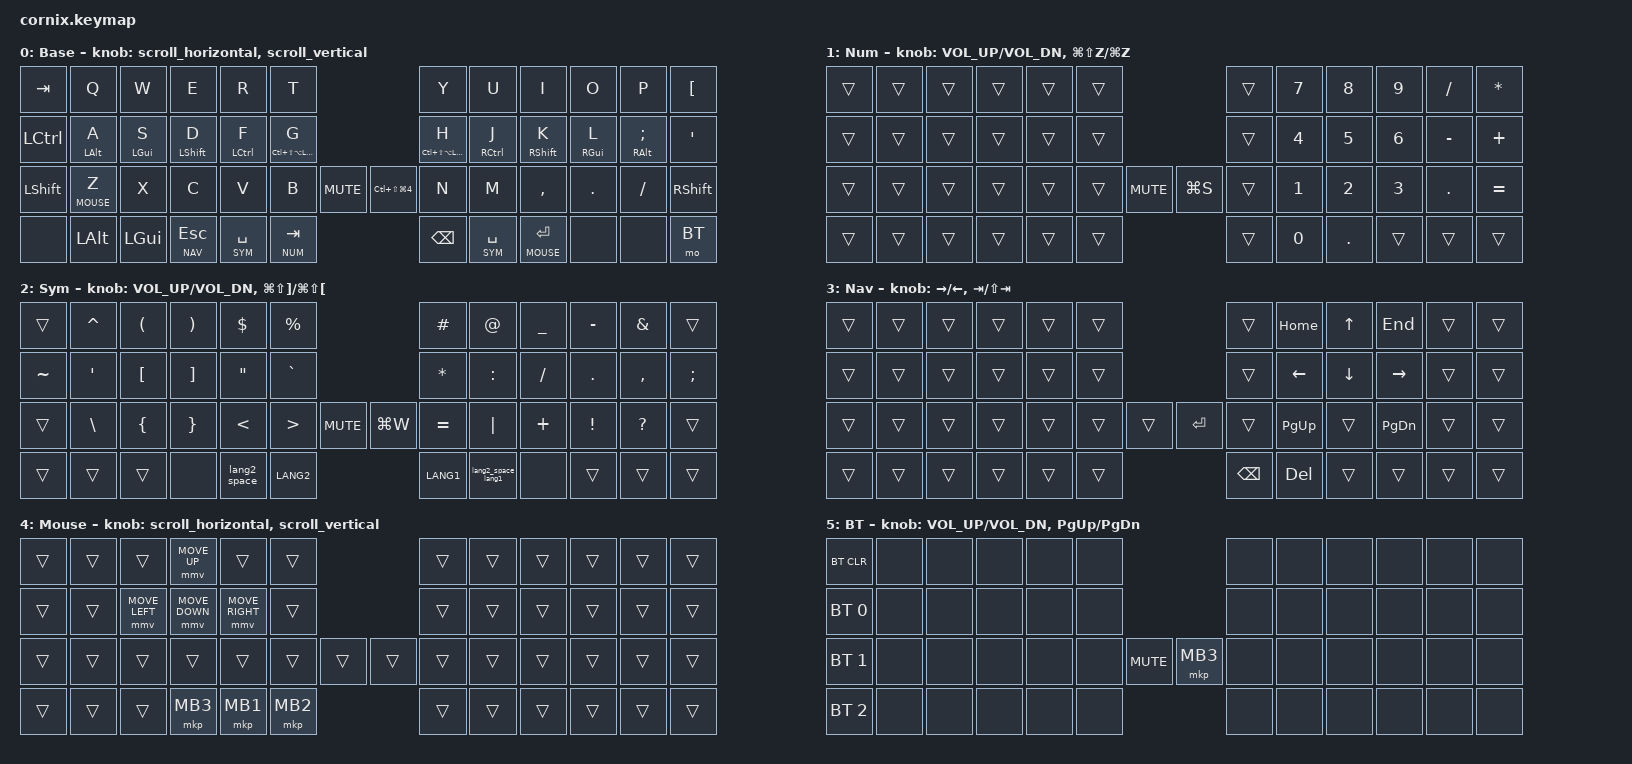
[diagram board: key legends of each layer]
/*
 * Copyright (c) 2020 The ZMK Contributors
 *
 * SPDX-License-Identifier: MIT
 */

#include "zmk-helpers/helper.h"
#include "includes/cornix54.h"
#include <behaviors.dtsi>
#include <dt-bindings/zmk/bt.h>
#include <dt-bindings/zmk/keys.h>

#define ZMK_POINTING_DEFAULT_MOVE_VAL 900
#define ZMK_POINTING_DEFAULT_SCRL_VAL 80
#include <dt-bindings/zmk/pointing.h>

#define BASE  0
#define NUM   1
#define SYM   2
#define NAV   3
#define MOUSE 4
#define BT    5

#define HM_TAPPING_TERM 250
#define HM_TAPPING_TERM_FAST 200
#define HM_QUICK_TAP 200
#define HM_PRIOR_IDLE 70
#define Z_MOUSE_TAPPING_TERM 3600000

#define LHYPR LC(LS(LA(LGUI)))

#define KEYS_L LT0 LT1 LT2 LT3 LT4 LT5 LM0 LM1 LM2 LM3 LM4 LM5 LB0 LB1 LB2 LB3 LB4 LB5
#define KEYS_R RT0 RT1 RT2 RT3 RT4 RT5 RM0 RM1 RM2 RM3 RM4 RM5 RB0 RB1 RB2 RB3 RB4 RB5
#define KEYS_LT LH2 LH1 LH0
#define KEYS_RT RH0 RH1 RH2

/ {
    macros {
        lang2_space: lang2_space {
            compatible = "zmk,behavior-macro";
            #binding-cells = <0>;
            wait-ms = <40>;
            tap-ms = <40>;
            bindings = <&kp LANG2>, <&kp SPACE>;
        };

        lang2_space_lang1: lang2_space_lang1 {
            compatible = "zmk,behavior-macro";
            #binding-cells = <0>;
            wait-ms = <40>;
            tap-ms = <40>;
            bindings = <&kp LANG2>, <&kp SPACE>, <&kp LANG1>;
        };

    };

    behaviors {
        hm_l: homerow_mods_left {
            compatible = "zmk,behavior-hold-tap";
            #binding-cells = <2>;
            bindings = <&kp>, <&kp>;

            flavor = "balanced";
            tapping-term-ms = <HM_TAPPING_TERM>;
            quick-tap-ms = <HM_QUICK_TAP>;
            require-prior-idle-ms = <HM_PRIOR_IDLE>;
            hold-trigger-key-positions = <KEYS_R KEYS_RT>;
            hold-trigger-on-release;
        };

        hm_r: homerow_mods_right {
            compatible = "zmk,behavior-hold-tap";
            #binding-cells = <2>;
            bindings = <&kp>, <&kp>;

            flavor = "balanced";
            tapping-term-ms = <HM_TAPPING_TERM>;
            quick-tap-ms = <HM_QUICK_TAP>;
            require-prior-idle-ms = <HM_PRIOR_IDLE>;
            hold-trigger-key-positions = <KEYS_L KEYS_LT>;
            hold-trigger-on-release;
        };

        hm_shift_l: homerow_shift_left {
            compatible = "zmk,behavior-hold-tap";
            #binding-cells = <2>;
            bindings = <&kp>, <&kp>;

            flavor = "balanced";
            tapping-term-ms = <HM_TAPPING_TERM_FAST>;
            quick-tap-ms = <HM_QUICK_TAP>;
            require-prior-idle-ms = <HM_PRIOR_IDLE>;
            hold-trigger-key-positions = <KEYS_R KEYS_RT>;
            hold-trigger-on-release;
        };

        hm_shift_r: homerow_shift_right {
            compatible = "zmk,behavior-hold-tap";
            #binding-cells = <2>;
            bindings = <&kp>, <&kp>;

            flavor = "balanced";
            tapping-term-ms = <HM_TAPPING_TERM_FAST>;
            quick-tap-ms = <HM_QUICK_TAP>;
            require-prior-idle-ms = <HM_PRIOR_IDLE>;
            hold-trigger-key-positions = <KEYS_L KEYS_LT>;
            hold-trigger-on-release;
        };

        lt_thumb_l: thumb_layer_tap_left {
            compatible = "zmk,behavior-hold-tap";
            #binding-cells = <2>;
            bindings = <&mo>, <&kp>;

            flavor = "hold-preferred";
            tapping-term-ms = <HM_TAPPING_TERM>;
            quick-tap-ms = <HM_QUICK_TAP>;
            hold-while-undecided;
            hold-trigger-key-positions = <KEYS_R KEYS_RT>;
            hold-trigger-on-release;
        };

        lt_thumb_r: thumb_layer_tap_right {
            compatible = "zmk,behavior-hold-tap";
            #binding-cells = <2>;
            bindings = <&mo>, <&kp>;

            flavor = "hold-preferred";
            tapping-term-ms = <HM_TAPPING_TERM>;
            quick-tap-ms = <HM_QUICK_TAP>;
            hold-while-undecided;
            hold-trigger-key-positions = <KEYS_L KEYS_LT>;
            hold-trigger-on-release;
        };

        z_mouse_l: z_mouse_layer_left {
            compatible = "zmk,behavior-hold-tap";
            #binding-cells = <2>;
            bindings = <&mo>, <&kp>;

            flavor = "tap-unless-interrupted";
            tapping-term-ms = <Z_MOUSE_TAPPING_TERM>;
            quick-tap-ms = <HM_QUICK_TAP>;
            require-prior-idle-ms = <HM_PRIOR_IDLE>;
            hold-trigger-key-positions = <LH1 LH0>;
        };

        scroll_horizontal: sensor_rotate_scroll_horizontal {
            compatible = "zmk,behavior-sensor-rotate";
            #sensor-binding-cells = <0>;
            bindings = <&msc SCRL_RIGHT>, <&msc SCRL_LEFT>;
            tap-ms = <20>;
        };

        scroll_vertical: sensor_rotate_scroll_vertical {
            compatible = "zmk,behavior-sensor-rotate";
            #sensor-binding-cells = <0>;
            bindings = <&msc SCRL_DOWN>, <&msc SCRL_UP>;
            tap-ms = <20>;
        };

    };

    keymap {
        compatible = "zmk,keymap";

        default_layer {
            display-name = "Base";

            bindings = <
&kp TAB    &kp Q          &kp W          &kp E               &kp R               &kp T                         &kp Y         &kp U          &kp I               &kp O          &kp P          &kp LBKT
&kp LCTRL  &hm_l LALT A   &hm_l LGUI S   &hm_shift_l LSHFT D &hm_l LCTRL F       &hm_l LHYPR G                 &hm_r LHYPR H &hm_r RCTRL J  &hm_shift_r RSHFT K &hm_r RGUI L   &hm_r RALT SEMI &kp SQT
&kp LSHFT  &z_mouse_l MOUSE Z &kp X          &kp C               &kp V               &kp B      &kp C_MUTE  &kp LC(LS(LG(N4))) &kp N         &kp M          &kp COMMA           &kp DOT        &kp FSLH       &kp RSHFT
&none      &kp LALT       &kp LGUI       &lt_thumb_l NAV ESC   &lt_thumb_l SYM SPACE &lt_thumb_l NUM TAB         &kp BSPC      &lt_thumb_r SYM SPACE &lt_thumb_r MOUSE ENTER &none          &none          &mo BT
            >;

            sensor-bindings = <&scroll_horizontal &scroll_vertical>;
        };

        num_layer {
            display-name = "Num";

            bindings = <
&trans  &trans  &trans  &trans  &trans  &trans                   &trans  &kp N7  &kp N8  &kp N9  &kp FSLH  &kp ASTRK
&trans  &trans  &trans  &trans  &trans  &trans                   &trans  &kp N4  &kp N5  &kp N6  &kp MINUS &kp PLUS
&trans  &trans  &trans  &trans  &trans  &trans  &kp C_MUTE &kp LG(S) &trans  &kp N1  &kp N2  &kp N3  &kp DOT   &kp EQUAL
&trans  &trans  &trans  &trans  &trans  &trans                   &trans  &kp N0  &kp DOT &trans  &trans    &trans
            >;

            sensor-bindings = <&inc_dec_kp C_VOL_UP C_VOL_DN &inc_dec_kp LG(LS(Z)) LG(Z)>;
        };

        sym_layer {
            display-name = "Sym";

            bindings = <
&trans    &kp CARET &kp LPAR &kp RPAR &kp DLLR  &kp PRCNT                 &kp HASH  &kp AT    &kp UNDER &kp MINUS &kp AMPS  &trans
&kp TILDE &kp SQT   &kp LBKT &kp RBKT &kp DQT   &kp GRAVE                 &kp ASTRK &kp COLON &kp FSLH  &kp DOT   &kp COMMA &kp SEMI
&trans    &kp BSLH  &kp LBRC &kp RBRC &kp LT    &kp GT  &kp C_MUTE &kp LG(W) &kp EQUAL &kp PIPE  &kp PLUS &kp EXCL  &kp QUESTION &trans
&trans    &trans    &trans   &none    &lang2_space &kp LANG2              &kp LANG1 &lang2_space_lang1 &none &trans &trans &trans
            >;

            sensor-bindings = <&inc_dec_kp C_VOL_UP C_VOL_DN &inc_dec_kp LG(LS(RBKT)) LG(LS(LBKT))>;
        };

        nav_layer {
            display-name = "Nav";

            bindings = <
&trans  &trans  &trans  &trans  &trans  &trans                   &trans  &kp HOME &kp UP   &kp END   &trans  &trans
&trans  &trans  &trans  &trans  &trans  &trans                   &trans  &kp LEFT &kp DOWN &kp RIGHT &trans  &trans
&trans  &trans  &trans  &trans  &trans  &trans  &trans    &kp ENTER &trans  &kp PG_UP &trans  &kp PG_DN &trans  &trans
&trans  &trans  &trans  &trans  &trans  &trans                   &kp BSPC &kp DEL   &trans   &trans    &trans  &trans
            >;

            sensor-bindings = <&inc_dec_kp RIGHT LEFT &inc_dec_kp TAB LS(TAB)>;
        };

        mouse_layer {
            display-name = "Mouse";

            bindings = <
&trans  &trans  &trans          &mmv MOVE_UP    &trans           &trans                    &trans  &trans  &trans  &trans  &trans  &trans
&trans  &trans  &mmv MOVE_LEFT  &mmv MOVE_DOWN  &mmv MOVE_RIGHT  &trans                    &trans  &trans  &trans  &trans  &trans  &trans
&trans  &trans  &trans          &trans          &trans           &trans  &trans  &trans     &trans  &trans  &trans  &trans  &trans  &trans
&trans  &trans  &trans          &mkp MB3        &mkp MB1         &mkp MB2                  &trans  &trans  &trans  &trans  &trans  &trans
            >;

            sensor-bindings = <&scroll_horizontal &scroll_vertical>;
        };

        bt_layer {
            display-name = "BT";

            bindings = <
&bt BT_CLR     &none  &none  &none  &none  &none                    &none  &none  &none  &none  &none  &none
&bt BT_SEL 0  &none  &none  &none  &none  &none                    &none  &none  &none  &none  &none  &none
&bt BT_SEL 1  &none  &none  &none  &none  &none  &kp C_MUTE &mkp MB3  &none  &none  &none  &none  &none  &none
&bt BT_SEL 2  &none  &none  &none  &none  &none                    &none  &none  &none  &none  &none  &none
            >;

            sensor-bindings = <&inc_dec_kp C_VOL_UP C_VOL_DN &inc_dec_kp PG_UP PG_DN>;
        };
    };
};

&mmv {
    time-to-max-speed-ms = <200>;
    acceleration-exponent = <1>;
};
